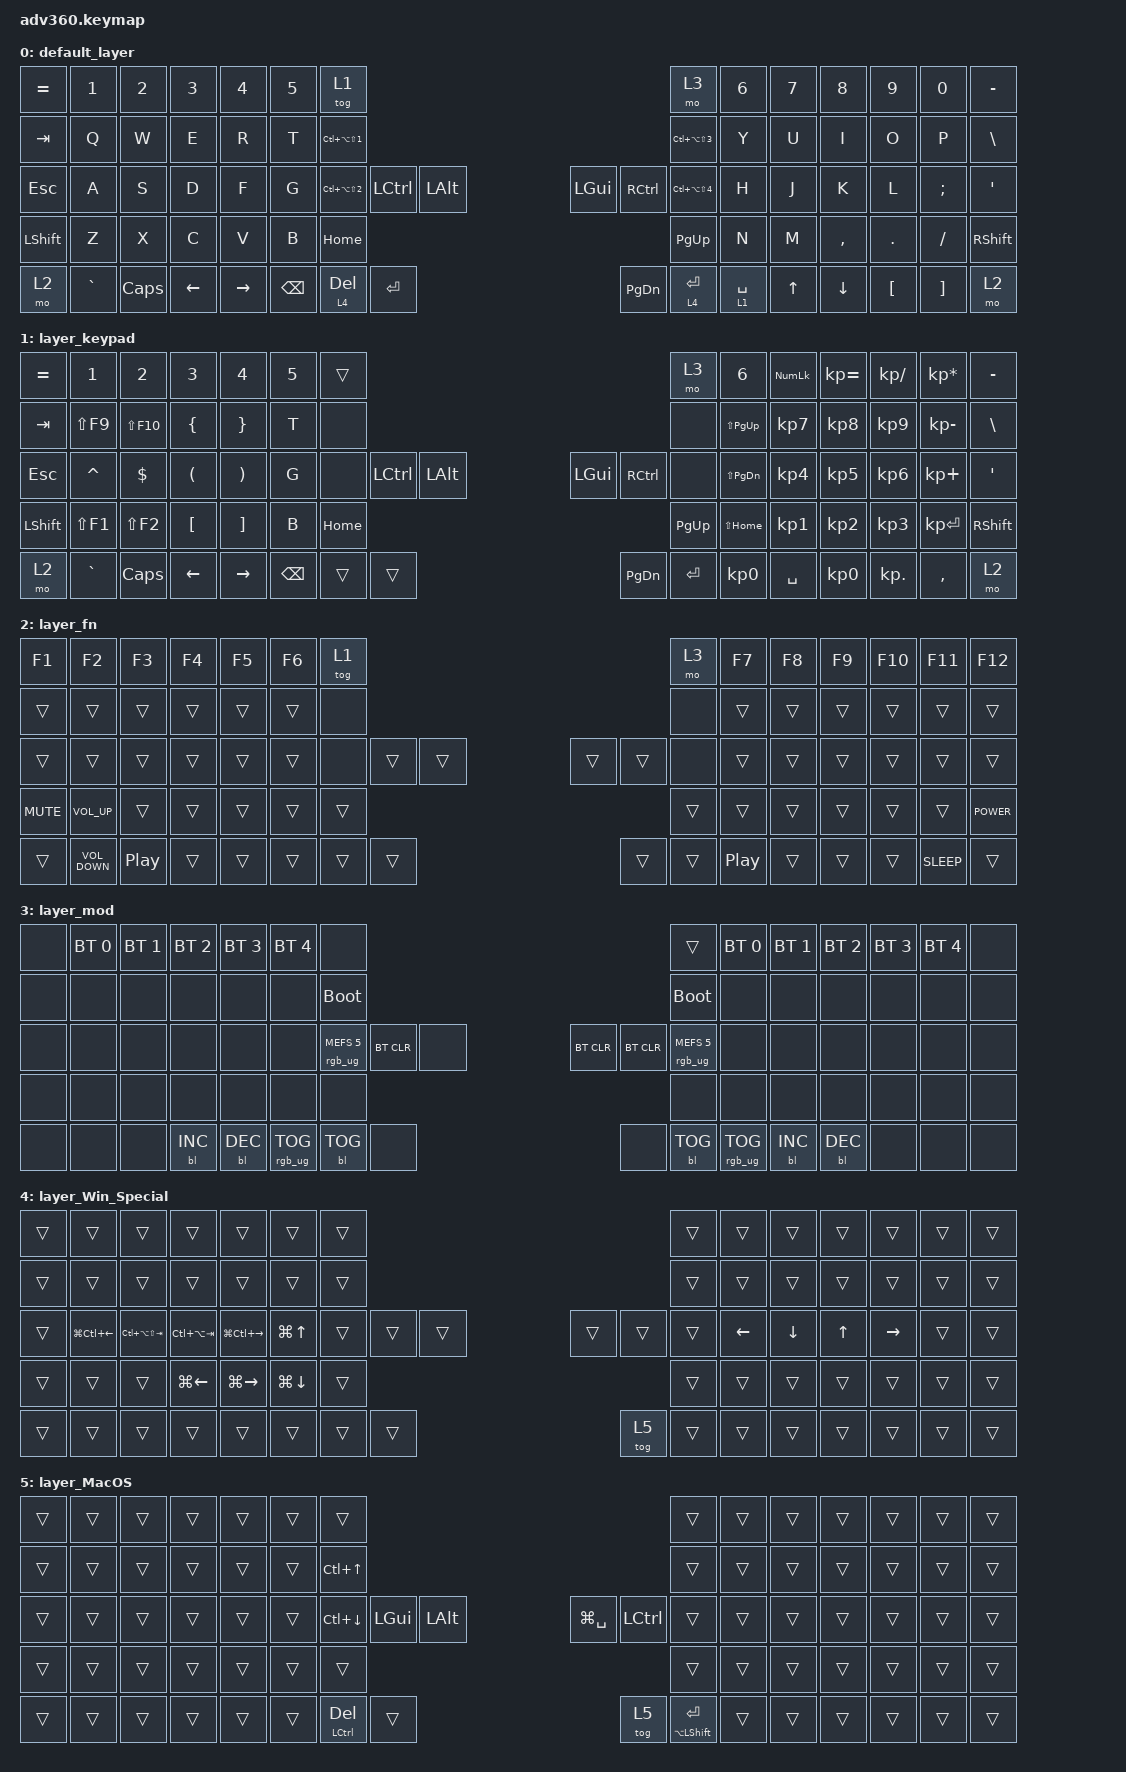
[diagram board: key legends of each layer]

/*
 * Copyright (c) 2020 The ZMK Contributors
 *
 * SPDX-License-Identifier: MIT
 */


/* THIS FILE WAS GENERATED!
 *
 * This file was generated automatically. You may or may not want to
 * edit it directly.
 */

#include <behaviors.dtsi>
#include <dt-bindings/zmk/keys.h>
#include <dt-bindings/zmk/bt.h>
#include <dt-bindings/zmk/rgb.h>
#include <dt-bindings/zmk/backlight.h>

/ {
  behaviors {
    #include "macros.dtsi"
    #include "version.dtsi"

    hm: homerow_mods {
        compatible = "zmk,behavior-hold-tap";
        label = "HOMEROW_MODS";
        #binding-cells = <2>;
        tapping-term-ms = <200>;
        quick_tap_ms = <175>;
        flavor = "tap-preferred";
        bindings = <&kp>, <&kp>;
    };
  };

    keymap {
        compatible = "zmk,keymap";


        default_layer {
            bindings = <
 &kp EQUAL     &kp N1    &kp N2    &kp N3     &kp N4  &kp N5                              &tog 1                                                                             &mo 3  &kp N6  &kp N7     &kp N8    &kp N9    &kp N0  &kp MINUS
   &kp TAB      &kp Q     &kp W     &kp E      &kp R   &kp T            &kp LC(LA(LS(NUMBER_1)))                                                                &kp LC(LA(LS(N3)))   &kp Y   &kp U      &kp I     &kp O     &kp P   &kp BSLH
   &kp ESC      &kp A     &kp S     &kp D      &kp F   &kp G                  &kp LC(LA(LS(N2)))  &kp LCTRL   &kp LALT                   &kp LGUI    &kp RCTRL  &kp LC(LA(LS(N4)))   &kp H   &kp J      &kp K     &kp L  &kp SEMI    &kp SQT
 &kp LSHFT      &kp Z     &kp X     &kp C      &kp V   &kp B                                                  &kp HOME                  &kp PG_UP                                    &kp N   &kp M  &kp COMMA   &kp DOT  &kp FSLH  &kp RSHFT
     &mo 2  &kp GRAVE  &kp CAPS  &kp LEFT  &kp RIGHT                               &kp BACKSPACE  &lt 4 DEL  &kp ENTER                  &kp PG_DN  &lt 4 ENTER         &lt 1 SPACE          &kp UP   &kp DOWN  &kp LBKT  &kp RBKT      &mo 2
            >;
        };

        layer_keypad {
            bindings = <
 &kp EQUAL      &kp N1       &kp N2                &kp N3                 &kp N4  &kp N5              &trans                                                                 &mo 3         &kp N6  &kp KP_NUM  &kp KP_EQUAL  &kp KP_DIVIDE  &kp KP_MULTIPLY  &kp MINUS
   &kp TAB  &kp LS(F9)  &kp LS(F10)        &kp LEFT_BRACE        &kp RIGHT_BRACE   &kp T               &none                                                                 &none  &kp LS(PG_UP)   &kp KP_N7     &kp KP_N8      &kp KP_N9     &kp KP_MINUS   &kp BSLH
   &kp ESC   &kp CARET   &kp DOLLAR  &kp LEFT_PARENTHESIS  &kp RIGHT_PARENTHESIS   &kp G               &none  &kp LCTRL  &kp LALT                   &kp LGUI  &kp RCTRL      &none  &kp LS(PG_DN)   &kp KP_N4     &kp KP_N5      &kp KP_N6      &kp KP_PLUS    &kp SQT
 &kp LSHFT  &kp LS(F1)   &kp LS(F2)      &kp LEFT_BRACKET      &kp RIGHT_BRACKET   &kp B                                 &kp HOME                  &kp PG_UP                         &kp LS(HOME)   &kp KP_N1     &kp KP_N2      &kp KP_N3     &kp KP_ENTER  &kp RSHFT
     &mo 2   &kp GRAVE     &kp CAPS              &kp LEFT              &kp RIGHT                    &kp BSPC     &trans    &trans                  &kp PG_DN  &kp ENTER  &kp KP_N0                  &kp SPACE     &kp KP_N0     &kp KP_DOT        &kp COMMA      &mo 2
            >;
        };

        layer_fn {
            bindings = <
     &kp F1             &kp F2    &kp F3  &kp F4  &kp F5  &kp F6            &tog 1                                                             &mo 3  &kp F7  &kp F8  &kp F9  &kp F10      &kp F11      &kp F12
     &trans             &trans    &trans  &trans  &trans  &trans             &none                                                             &none  &trans  &trans  &trans   &trans       &trans       &trans
     &trans             &trans    &trans  &trans  &trans  &trans             &none  &trans  &trans                  &trans  &trans             &none  &trans  &trans  &trans   &trans       &trans       &trans
 &kp C_MUTE    &kp C_VOLUME_UP    &trans  &trans  &trans  &trans                            &trans                  &trans                            &trans  &trans  &trans   &trans       &trans  &kp C_POWER
     &trans  &kp C_VOLUME_DOWN  &kp C_PP  &trans  &trans                    &trans  &trans  &trans                  &trans  &trans  &kp C_PLAY_PAUSE          &trans  &trans   &trans  &kp C_SLEEP       &trans
            >;
        };

        layer_mod {
            bindings = <
  &none  &bt BT_SEL 0  &bt BT_SEL 1  &bt BT_SEL 2  &bt BT_SEL 3  &bt BT_SEL 4                             &none                                                                              &trans  &bt BT_SEL 0  &bt BT_SEL 1  &bt BT_SEL 2  &bt BT_SEL 3  &bt BT_SEL 4   &none
  &none         &none         &none         &none         &none         &none                       &bootloader                                                                         &bootloader         &none         &none         &none         &none         &none   &none
  &none         &none         &none         &none         &none         &none            &rgb_ug RGB_MEFS_CMD 5  &bt BT_CLR   &none                  &bt BT_CLR  &bt BT_CLR  &rgb_ug RGB_MEFS_CMD 5         &none         &none         &none         &none         &none   &none
  &none         &none         &none         &none         &none         &none                                                 &none                       &none                                             &none         &none         &none         &none         &none   &none
  &none         &none         &none    &bl BL_INC    &bl BL_DEC                                 &rgb_ug RGB_TOG  &bl BL_TOG   &none                       &none  &bl BL_TOG         &rgb_ug RGB_TOG                  &bl BL_INC    &bl BL_DEC         &none         &none   &none
            >;
        };

        layer_Win_Special {
            bindings = <
 &trans            &trans               &trans           &trans             &trans        &trans            &trans                                                  &trans    &trans    &trans  &trans     &trans  &trans  &trans
 &trans            &trans               &trans           &trans             &trans        &trans            &trans                                                  &trans    &trans    &trans  &trans     &trans  &trans  &trans
 &trans  &kp LG(LC(LEFT))  &kp LC(LA(LS(TAB)))  &kp LC(LA(TAB))  &kp LG(LC(RIGHT))    &kp LG(UP)            &trans  &trans  &trans                  &trans  &trans  &trans  &kp LEFT  &kp DOWN  &kp UP  &kp RIGHT  &trans  &trans
 &trans            &trans               &trans     &kp LG(LEFT)      &kp LG(RIGHT)  &kp LG(DOWN)                            &trans                  &trans                    &trans    &trans  &trans     &trans  &trans  &trans
 &trans            &trans               &trans           &trans             &trans                          &trans  &trans  &trans                  &tog 5  &trans  &trans              &trans  &trans     &trans  &trans  &trans
            >;
        };

        layer_MacOS {
            bindings = <
 &trans  &trans  &trans  &trans  &trans  &trans                  &trans                                                                               &trans  &trans  &trans  &trans  &trans  &trans  &trans
 &trans  &trans  &trans  &trans  &trans  &trans              &kp LC(UP)                                                                               &trans  &trans  &trans  &trans  &trans  &trans  &trans
 &trans  &trans  &trans  &trans  &trans  &trans            &kp LC(DOWN)   &kp LEFT_GUI  &kp LALT                  &kp LG(SPACE)     &kp LEFT_CONTROL  &trans  &trans  &trans  &trans  &trans  &trans  &trans
 &trans  &trans  &trans  &trans  &trans  &trans                                           &trans                         &trans                               &trans  &trans  &trans  &trans  &trans  &trans
 &trans  &trans  &trans  &trans  &trans                          &trans  &mt LCTRL DEL    &trans                         &tog 5  &mt LA(LSHFT) ENTER  &trans          &trans  &trans  &trans  &trans  &trans
            >;
        };

    };
};
